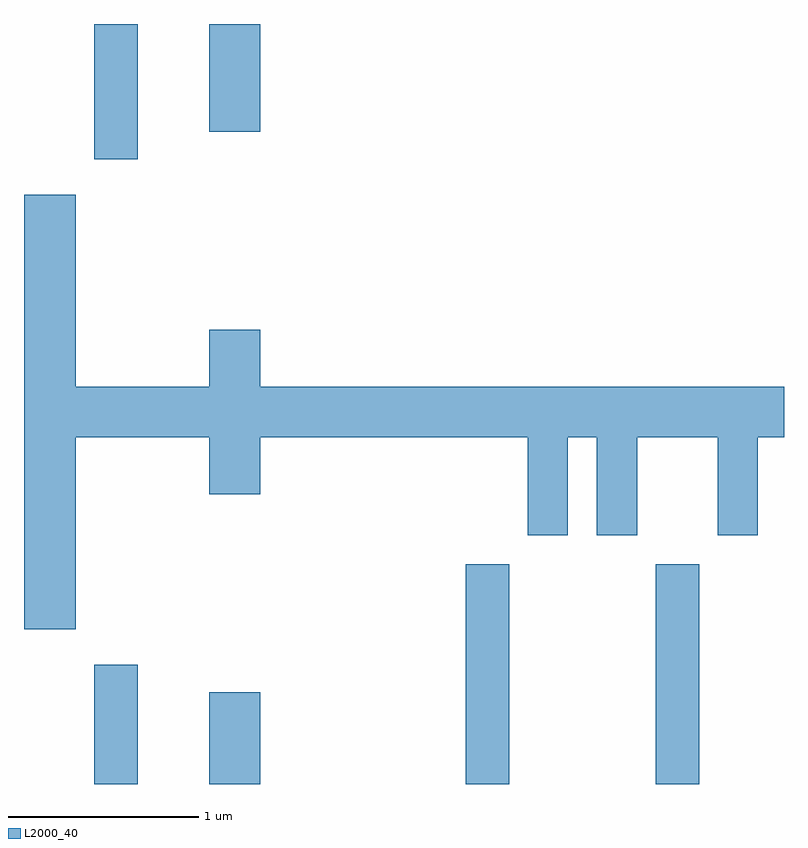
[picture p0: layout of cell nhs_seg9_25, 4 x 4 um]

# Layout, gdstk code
import gdstk
lib = gdstk.Library(unit=1e-6, precision=1e-09)
def R(c, l, rs):  # rectangles x0, y0, x1, y1
    for r in rs: c.add(gdstk.rectangle(r[:2], r[2:], *l))
def P(c, l, *ps):  # polygons
    for p in ps: c.add(gdstk.Polygon(p, *l))
L2000_40 = (2000, 40)

nhs_seg9_25 = lib.new_cell('nhs_seg9_25')
R(nhs_seg9_25, L2000_40, [(185.981,1994.432,186.209,1995.059), (186.586,1994.432,186.854,1994.914), (187.936,1994.432,188.164,1995.589), (188.936,1994.432,189.164,1995.589), (185.981,1997.721,186.209,1998.432), (186.586,1997.866,186.854,1998.432)])
P(nhs_seg9_25, L2000_40, [(185.884,1996.256),(186.586,1996.256),(186.586,1995.956),(186.854,1995.956),(186.854,1996.256),(188.261,1996.256),(188.261,1995.741),(188.474,1995.741),(188.474,1996.256),(188.626,1996.256),(188.626,1995.741),(188.839,1995.741),(188.839,1996.256),(189.261,1996.256),(189.261,1995.741),(189.474,1995.741),(189.474,1996.256),(189.611,1996.256),(189.611,1996.524),(186.854,1996.524),(186.854,1996.824),(186.586,1996.824),(186.586,1996.524),(185.884,1996.524),(185.884,1997.534),(185.611,1997.534),(185.611,1995.246),(185.884,1995.246)])

lib.write_gds('nhs_seg9_25.gds')
